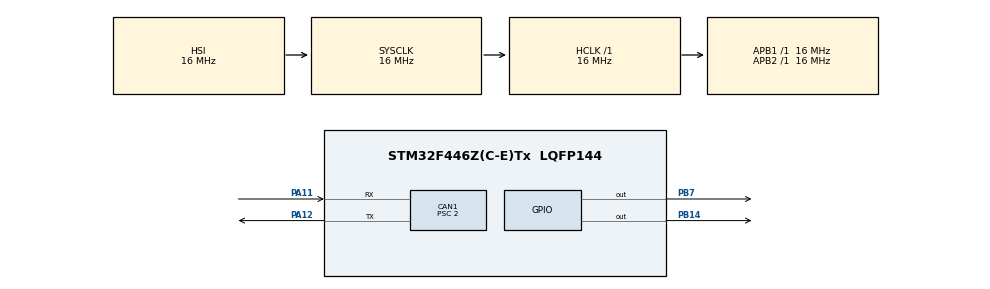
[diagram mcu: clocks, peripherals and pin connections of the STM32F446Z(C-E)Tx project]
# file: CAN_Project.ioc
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CAN1.BS1=CAN_BS1_11TQ
CAN1.BS2=CAN_BS2_4TQ
CAN1.CalculateTimeBit=2000
CAN1.CalculateTimeQuantum=125.0
CAN1.Mode=CAN_MODE_LOOPBACK
CAN1.Prescaler=2
Mcu.Family=STM32F4
Mcu.Name=STM32F446Z(C-E)Tx
Mcu.Package=LQFP144
NVIC.PriorityGroup=NVIC_PRIORITYGROUP_4
PA11.Mode=Master
PA11.Signal=CAN1_RX
PA12.Mode=Master
PA12.Signal=CAN1_TX
PB14.Signal=GPIO_Output
PB7.Signal=GPIO_Output
ProjectManager.HeapSize=0x200
ProjectManager.StackSize=0x400
ProjectManager.TargetToolchain=MDK-ARM V5
RCC.48MHZClocksFreq_Value=24000000
RCC.AHBFreq_Value=16000000
RCC.APB1Freq_Value=16000000
RCC.APB1TimFreq_Value=16000000
RCC.APB2Freq_Value=16000000
RCC.APB2TimFreq_Value=16000000
RCC.CortexFreq_Value=16000000
RCC.HCLKFreq_Value=16000000
RCC.HSE_VALUE=8000000
RCC.HSI_VALUE=16000000
RCC.LSE_VALUE=32768
RCC.PLLMUL=RCC_PLL_MUL9
RCC.PRESCALERUSB=RCC_USBCLKSOURCE_PLL_DIV1_5
RCC.SYSCLKFreq_VALUE=16000000
RCC.SYSCLKSourceVirtual=RCC_SYSCLKSOURCE_PLLCLK
RCC.USBFreq_Value=96000000
RCC.VCOOutputFreq_Value=192000000
board=NUCLEO-F446ZE

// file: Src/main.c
/**
  ******************************************************************************
  * File Name          : main.c
  * Description        : Main program body
  ******************************************************************************
  ** This notice applies to any and all portions of this file
  * that are not between comment pairs USER CODE BEGIN and
  * USER CODE END. Other portions of this file, whether
  * inserted by the user or by software development tools
  * are owned by their respective copyright owners.
  *
  * COPYRIGHT(c) 2018 STMicroelectronics
  *
  * Redistribution and use in source and binary forms, with or without modification,
  * are permitted provided that the following conditions are met:
  *   1. Redistributions of source code must retain the above copyright notice,
  *      this list of conditions and the following disclaimer.
  *   2. Redistributions in binary form must reproduce the above copyright notice,
  *      this list of conditions and the following disclaimer in the documentation
  *      and/or other materials provided with the distribution.
  *   3. Neither the name of STMicroelectronics nor the names of its contributors
  *      may be used to endorse or promote products derived from this software
  *      without specific prior written permission.
  *
  * THIS SOFTWARE IS PROVIDED BY THE COPYRIGHT HOLDERS AND CONTRIBUTORS "AS IS"
  * AND ANY EXPRESS OR IMPLIED WARRANTIES, INCLUDING, BUT NOT LIMITED TO, THE
  * IMPLIED WARRANTIES OF MERCHANTABILITY AND FITNESS FOR A PARTICULAR PURPOSE ARE
  * DISCLAIMED. IN NO EVENT SHALL THE COPYRIGHT HOLDER OR CONTRIBUTORS BE LIABLE
  * FOR ANY DIRECT, INDIRECT, INCIDENTAL, SPECIAL, EXEMPLARY, OR CONSEQUENTIAL
  * DAMAGES (INCLUDING, BUT NOT LIMITED TO, PROCUREMENT OF SUBSTITUTE GOODS OR
  * SERVICES; LOSS OF USE, DATA, OR PROFITS; OR BUSINESS INTERRUPTION) HOWEVER
  * CAUSED AND ON ANY THEORY OF LIABILITY, WHETHER IN CONTRACT, STRICT LIABILITY,
  * OR TORT (INCLUDING NEGLIGENCE OR OTHERWISE) ARISING IN ANY WAY OUT OF THE USE
  * OF THIS SOFTWARE, EVEN IF ADVISED OF THE POSSIBILITY OF SUCH DAMAGE.
  *
  ******************************************************************************
  */

//#include "main.h"
#include "stm32f4xx_hal.h"

CAN_HandleTypeDef hcan1;

/* USER CODE BEGIN PV */
/* Private variables ---------------------------------------------------------*/

/* USER CODE END PV */

/* USER CODE BEGIN PFP */
/* Private function prototypes -----------------------------------------------*/

/* USER CODE END PFP */

int main(void)
{
	void SystemClock_Config(void);
  void MX_GPIO_Init(void);
	void MX_CAN1_Init(void);

  /* MCU Configuration----------------------------------------------------------*/

  /* Reset of all peripherals, Initializes the Flash interface and the Systick. */
  HAL_Init();

  /* Configure the system clock */
  SystemClock_Config();

  /* Initialize all configured peripherals */
  MX_GPIO_Init();
  MX_CAN1_Init();

  /* USER CODE BEGIN 2 */
	hcan1.pTxMsg->StdId = 0x100;
	hcan1.pTxMsg->RTR = CAN_RTR_DATA;
	hcan1.pTxMsg->IDE = CAN_ID_STD;
	hcan1.pTxMsg->DLC = 2;

  /* USER CODE END 2 */

  /* Infinite loop */
  while (1)
  {

  /* USER CODE BEGIN 3 */
		hcan1.pTxMsg->Data[0] = 0xCA;
		hcan1.pTxMsg->Data[1] = 0xFE;
		HAL_CAN_Transmit(&hcan1, 10);
		//HAL_Delay(1000);
		if(HAL_CAN_Receive(&hcan1,CAN_FIFO0,10) == HAL_OK)
		{
			if(hcan1.pRxMsg->StdId == 0x100)
			{
					if(hcan1.pRxMsg->IDE == CAN_ID_STD)
					{
						if(hcan1.pRxMsg->DLC == 2)
						{
							if(hcan1.pRxMsg->Data[0] == 0xCA)
							{
								if(hcan1.pRxMsg->Data[1] == 0xFE)
								{
									HAL_GPIO_TogglePin(GPIOB,GPIO_PIN_7);
									HAL_Delay(100);
								}
							}
						}
					}
			}
			//HAL_GPIO_TogglePin(GPIOB,GPIO_PIN_14);
			//HAL_Delay(100);
		}
  }
  /* USER CODE END 3 */

}

/** System Clock Configuration
*/
void SystemClock_Config(void)
{

  RCC_OscInitTypeDef RCC_OscInitStruct;
  RCC_ClkInitTypeDef RCC_ClkInitStruct;

    /**Configure the main internal regulator output voltage
    */
  __HAL_RCC_PWR_CLK_ENABLE();

  __HAL_PWR_VOLTAGESCALING_CONFIG(PWR_REGULATOR_VOLTAGE_SCALE3);

    /**Initializes the CPU, AHB and APB busses clocks
    */
  RCC_OscInitStruct.OscillatorType = RCC_OSCILLATORTYPE_HSI;
  RCC_OscInitStruct.HSIState = RCC_HSI_ON;
  RCC_OscInitStruct.HSICalibrationValue = 16;
  RCC_OscInitStruct.PLL.PLLState = RCC_PLL_NONE;
  if (HAL_RCC_OscConfig(&RCC_OscInitStruct) != HAL_OK)
  {
    _Error_Handler(__FILE__, __LINE__);
  }

    /**Initializes the CPU, AHB and APB busses clocks
    */
  RCC_ClkInitStruct.ClockType = RCC_CLOCKTYPE_HCLK|RCC_CLOCKTYPE_SYSCLK
                              |RCC_CLOCKTYPE_PCLK1|RCC_CLOCKTYPE_PCLK2;
  RCC_ClkInitStruct.SYSCLKSource = RCC_SYSCLKSOURCE_HSI;
  RCC_ClkInitStruct.AHBCLKDivider = RCC_SYSCLK_DIV1;
  RCC_ClkInitStruct.APB1CLKDivider = RCC_HCLK_DIV1;
  RCC_ClkInitStruct.APB2CLKDivider = RCC_HCLK_DIV1;

  if (HAL_RCC_ClockConfig(&RCC_ClkInitStruct, FLASH_LATENCY_0) != HAL_OK)
  {
    _Error_Handler(__FILE__, __LINE__);
  }

    /**Configure the Systick interrupt time
    */
  HAL_SYSTICK_Config(HAL_RCC_GetHCLKFreq()/1000);

    /**Configure the Systick
    */
  HAL_SYSTICK_CLKSourceConfig(SYSTICK_CLKSOURCE_HCLK);

  /* SysTick_IRQn interrupt configuration */
  HAL_NVIC_SetPriority(SysTick_IRQn, 0, 0);
}

/* CAN1 init function */
static void MX_CAN1_Init(void)
{
	CAN_FilterConfTypeDef  sFilterConfig;
  static CanTxMsgTypeDef        TxMessage;
  static CanRxMsgTypeDef        RxMessage;

  hcan1.Instance = CAN1;
	hcan1.pTxMsg = &TxMessage;
  hcan1.pRxMsg = &RxMessage;

  hcan1.Init.Prescaler = 2;
  hcan1.Init.Mode = CAN_MODE_LOOPBACK;
  hcan1.Init.SJW = CAN_SJW_1TQ;
  hcan1.Init.BS1 = CAN_BS1_11TQ;
  hcan1.Init.BS2 = CAN_BS2_4TQ;
  hcan1.Init.TTCM = DISABLE;
  hcan1.Init.ABOM = DISABLE;
  hcan1.Init.AWUM = DISABLE;
  hcan1.Init.NART = DISABLE;
  hcan1.Init.RFLM = DISABLE;
  hcan1.Init.TXFP = DISABLE;
  if (HAL_CAN_Init(&hcan1) != HAL_OK)
  {
    _Error_Handler(__FILE__, __LINE__);
  }

	 /*##-2- Configure the CAN Filter ###########################################*/
  sFilterConfig.FilterNumber = 0;
  sFilterConfig.FilterMode = CAN_FILTERMODE_IDMASK;
  sFilterConfig.FilterScale = CAN_FILTERSCALE_32BIT;
  sFilterConfig.FilterIdHigh = 0x0000;
  sFilterConfig.FilterIdLow = 0x0000;
  sFilterConfig.FilterMaskIdHigh = 0x0000;
  sFilterConfig.FilterMaskIdLow = 0x0000;
  sFilterConfig.FilterFIFOAssignment = 0;
  sFilterConfig.FilterActivation = ENABLE;
  sFilterConfig.BankNumber = 14;

  if(HAL_CAN_ConfigFilter(&hcan1, &sFilterConfig) != HAL_OK)
  {
    /* Filter configuration Error */
    Error_Handler();
  }

}

/** Configure pins as
        * Analog
        * Input
        * Output
        * EVENT_OUT
        * EXTI
*/
static void MX_GPIO_Init(void)
{

  GPIO_InitTypeDef GPIO_InitStruct;

  /* GPIO Ports Clock Enable */
  __HAL_RCC_GPIOB_CLK_ENABLE();
  __HAL_RCC_GPIOA_CLK_ENABLE();

  /*Configure GPIO pin Output Level */
  HAL_GPIO_WritePin(GPIOB, GPIO_PIN_14|GPIO_PIN_7, GPIO_PIN_RESET);

  /*Configure GPIO pins : PB14 PB7 */
  GPIO_InitStruct.Pin = GPIO_PIN_14|GPIO_PIN_7;
  GPIO_InitStruct.Mode = GPIO_MODE_OUTPUT_PP;
  GPIO_InitStruct.Pull = GPIO_NOPULL;
  GPIO_InitStruct.Speed = GPIO_SPEED_FREQ_LOW;
  HAL_GPIO_Init(GPIOB, &GPIO_InitStruct);

}

void _Error_Handler(char * file, int line)
{
  /* USER CODE BEGIN Error_Handler_Debug */
  /* User can add his own implementation to report the HAL error return state */
  while(1)
  {
		HAL_GPIO_TogglePin(GPIOB,GPIO_PIN_14);
		HAL_Delay(100);
  }
  /* USER CODE END Error_Handler_Debug */
}

/************************ (C) COPYRIGHT STMicroelectronics *****END OF FILE****/
